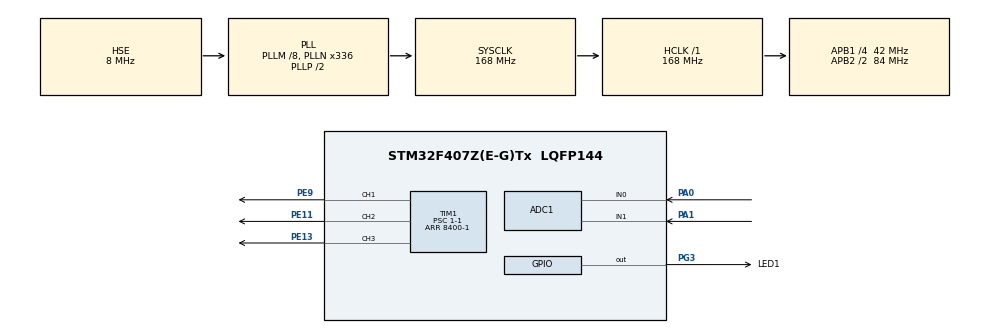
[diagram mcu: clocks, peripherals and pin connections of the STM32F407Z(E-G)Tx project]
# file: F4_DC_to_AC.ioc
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ADC1.Channel-0\#ChannelRegularConversion=ADC_CHANNEL_0
ADC1.ContinuousConvMode=ENABLE
ADC1.DMAContinuousRequests=ENABLE
ADC1.NbrOfConversionFlag=1
ADC1.Rank-0\#ChannelRegularConversion=1
ADC1.SamplingTime-0\#ChannelRegularConversion=ADC_SAMPLETIME_3CYCLES
ADC1.ScanConvMode=ENABLE
ADC1.master=1
Dma.ADC1.0.Direction=DMA_PERIPH_TO_MEMORY
Dma.ADC1.0.FIFOMode=DMA_FIFOMODE_DISABLE
Dma.ADC1.0.Instance=DMA2_Stream0
Dma.ADC1.0.MemDataAlignment=DMA_MDATAALIGN_WORD
Dma.ADC1.0.MemInc=DMA_MINC_ENABLE
Dma.ADC1.0.Mode=DMA_CIRCULAR
Dma.ADC1.0.PeriphDataAlignment=DMA_PDATAALIGN_WORD
Dma.ADC1.0.PeriphInc=DMA_PINC_DISABLE
Dma.ADC1.0.Priority=DMA_PRIORITY_LOW
Dma.Request0=ADC1
Mcu.Family=STM32F4
Mcu.Name=STM32F407Z(E-G)Tx
Mcu.Package=LQFP144
NVIC.DMA2_Stream0_IRQn=true\:0\:0\:false\:false\:true\:false\:true
NVIC.PriorityGroup=NVIC_PRIORITYGROUP_4
NVIC.TIM2_IRQn=true\:0\:0\:false\:false\:true\:true\:true
NVIC.TIM7_IRQn=true\:0\:0\:false\:false\:true\:true\:true
PA0-WKUP.Signal=ADCx_IN0
PA1.Signal=ADCx_IN1
PA13.Mode=Serial_Wire
PA13.Signal=SYS_JTMS-SWDIO
PA14.Mode=Serial_Wire
PA14.Signal=SYS_JTCK-SWCLK
PC14-OSC32_IN.Mode=LSE-External-Oscillator
PC14-OSC32_IN.Signal=RCC_OSC32_IN
PC15-OSC32_OUT.Mode=LSE-External-Oscillator
PC15-OSC32_OUT.Signal=RCC_OSC32_OUT
PE11.Signal=S_TIM1_CH2
PE13.Signal=S_TIM1_CH3
PE9.Signal=S_TIM1_CH1
PG3.GPIO_Label=LED1
PG3.GPIO_ModeDefaultOutputPP=GPIO_MODE_OUTPUT_OD
PG3.Signal=GPIO_Output
PH0-OSC_IN.Mode=HSE-External-Oscillator
PH0-OSC_IN.Signal=RCC_OSC_IN
PH1-OSC_OUT.Mode=HSE-External-Oscillator
PH1-OSC_OUT.Signal=RCC_OSC_OUT
ProjectManager.HeapSize=0x200
ProjectManager.StackSize=0x400
ProjectManager.TargetToolchain=STM32CubeIDE
RCC.48MHZClocksFreq_Value=84000000
RCC.AHBFreq_Value=168000000
RCC.APB1CLKDivider=RCC_HCLK_DIV4
RCC.APB1Freq_Value=42000000
RCC.APB1TimFreq_Value=84000000
RCC.APB2CLKDivider=RCC_HCLK_DIV2
RCC.APB2Freq_Value=84000000
RCC.APB2TimFreq_Value=168000000
RCC.CortexFreq_Value=168000000
RCC.HCLKFreq_Value=168000000
RCC.HSE_VALUE=8000000
RCC.HSI_VALUE=16000000
RCC.PLLM=8
RCC.PLLN=336
RCC.PLLSourceVirtual=RCC_PLLSOURCE_HSE
RCC.SYSCLKFreq_VALUE=168000000
RCC.SYSCLKSource=RCC_SYSCLKSOURCE_PLLCLK
RCC.VCOOutputFreq_Value=336000000
SH.ADCx_IN0.0=ADC1_IN0,IN0
SH.ADCx_IN1.0=ADC1_IN1,IN1
SH.S_TIM1_CH1.0=TIM1_CH1,PWM Generation1 CH1
SH.S_TIM1_CH2.0=TIM1_CH2,PWM Generation2 CH2
SH.S_TIM1_CH3.0=TIM1_CH3,PWM Generation3 CH3
TIM1.Channel-PWM\ Generation1\ CH1=TIM_CHANNEL_1
TIM1.Channel-PWM\ Generation2\ CH2=TIM_CHANNEL_2
TIM1.Channel-PWM\ Generation3\ CH3=TIM_CHANNEL_3
TIM1.Period=8400-1
TIM1.Prescaler=1-1
TIM2.AutoReloadPreload=TIM_AUTORELOAD_PRELOAD_DISABLE
TIM2.Period=200-1
TIM2.Prescaler=84-1
TIM7.Period=100-1
TIM7.Prescaler=84-1
VP_TIM1_VS_ClockSourceINT.Mode=Internal
VP_TIM2_VS_ClockSourceINT.Mode=Internal
VP_TIM7_VS_ClockSourceINT.Mode=Enable_Timer
board=custom

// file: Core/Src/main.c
/* USER CODE BEGIN Header */
/**
  ******************************************************************************
  * @file           : main.c
  * @brief          : Main program body
  ******************************************************************************
  * @attention
  *
  * <h2><center>&copy; Copyright (c) 2020 STMicroelectronics.
  * All rights reserved.</center></h2>
  *
  * This software component is licensed by ST under BSD 3-Clause license,
  * the "License"; You may not use this file except in compliance with the
  * License. You may obtain a copy of the License at:
  *                        opensource.org/licenses/BSD-3-Clause
  *
  ******************************************************************************
  */
/* USER CODE END Header */

#include "main.h"
#include "adc.h"
#include "dma.h"
#include "tim.h"
#include "gpio.h"

/* USER CODE BEGIN Includes */
#include "math.h"
#include "pid.h"
/* USER CODE END Includes */

/* USER CODE BEGIN PD */
#define Channel_Num  2//通道数量， 一个为电压量，一个为电流量。
#define SIN_NUM 50 //函数sin表数组的容量
#define Cycle_Num 200 //tim7为0.1ms一次采样，输出一个周期20ms。所以一个周期应该有200个采样值
/* USER CODE END PD */

/* USER CODE BEGIN PV */
uint32_t ADC_ConvertedValue[Channel_Num] = {0}; //定义DMA数据的存储地址
int SIN_LUT_index = 0;//sin表指针，用来定位sin表中的值
uint16_t Sin_Lut[SIN_NUM] = {0};  //sin表
uint16_t Output_Polarity_Flag = 0; //输出极性标志，0和1分别为前半周期和后半周期
float Tfb = 1; //输出的调幅比
uint16_t Get_Data_Cycle_Flag = 0; //获取一个周期数据的标志
float ADC_Cycle_Date[Cycle_Num][Channel_Num] = {0}; // 存放一个周期的电流电压值
uint16_t ADC_Date_Count = 0; //周期内ADC采样值计数
float ADC_ValueAverage[Channel_Num] = {0}; //存储经main函数运算之后的电压电流有效值
float Target_V = 1; //设置目标电压值
float Max_I = 1; //设置最大电流(为AD采样前 电流转换后 的模拟电压值)
/* USER CODE END PV */

void SystemClock_Config(void);
/* USER CODE BEGIN PFP */
void Make_Sin_List(void); //sin表生成函数
/* USER CODE END PFP */

int main(void)
{

  /* MCU Configuration--------------------------------------------------------*/

  /* Reset of all peripherals, Initializes the Flash interface and the Systick. */
  HAL_Init();

  /* Configure the system clock */
  SystemClock_Config();

  /* Initialize all configured peripherals */
  MX_GPIO_Init();
  MX_DMA_Init();
  MX_ADC1_Init();
  MX_TIM1_Init();
  MX_TIM2_Init();
  MX_TIM7_Init();
  /* USER CODE BEGIN 2 */
  HAL_ADC_Start_DMA(&hadc1, (uint32_t*)ADC_ConvertedValue, Channel_Num); //开启ADC的DMA采集通道
  HAL_TIM_PWM_Start(&htim1,TIM_CHANNEL_1); //开启PWM通道1输出，控制boost的占空比
  __HAL_TIM_SET_COMPARE(&htim1, TIM_CHANNEL_1, 3000);//设置初值，重装值为8400
  HAL_TIM_PWM_Start(&htim1,TIM_CHANNEL_2); //开启PWM通道2输出，控制一个桥臂
  __HAL_TIM_SET_COMPARE(&htim1, TIM_CHANNEL_2, 4200);//设置初值，重装值为8400
  HAL_TIM_PWM_Start(&htim1,TIM_CHANNEL_3); //开启PWM通道3输出，控制另外一个桥臂
  __HAL_TIM_SET_COMPARE(&htim1, TIM_CHANNEL_3, 4200);//设置初值，重装值为8400
  Make_Sin_List(); //生成正弦表
  HAL_TIM_Base_Start_IT(&htim2); //开启定时器2，中断中输出正弦调制波
  HAL_TIM_Base_Start_IT(&htim7); //开启定时器7，中断中进行数据采样和 闭环控制
  Set_PID_Parameter(kp,ki,kd); //PID参数配置
  /* USER CODE END 2 */

  /* Infinite loop */
  /* USER CODE BEGIN WHILE */
  while (1)
  {
	  if(Get_Data_Cycle_Flag == 1) { //标志为1 对一个周期的数据计算处理

		  float SumV = 0, SumI = 0; //存储总值
		  float I_Diff = 2.1; //电流用INA282可采到负值，但有偏置，计算时应减去
		  for(int i = 0; i < Cycle_Num; i++) { //做平方求和
			  SumV += ADC_Cycle_Date[i][0] * ADC_Cycle_Date[i][0];
			  SumI += (ADC_Cycle_Date[i][1] - I_Diff) * (ADC_Cycle_Date[i][1] - I_Diff);
		  }
		  ADC_ValueAverage[0] = sqrt(SumV * 2 / Cycle_Num); //电压有效值  在负半周采样结果为0，故乘2
		  ADC_ValueAverage[1] = sqrt(SumI / Cycle_Num); //电流有效值

		  if(ADC_ValueAverage[1] < Max_I) { //如果采集到的电流值小于最大电流，则保持恒压状态
			  float Pid_Output = PID_Calc(ADC_ValueAverage[0], Target_V); //进行Pid运算
			  float Tfb_Temp = Tfb; //调幅比临时存储变量
			  Tfb_Temp += Pid_Output; //调幅比加上pid运算结果，实现闭环控制
			  if(Tfb_Temp > 1) {//如果调幅比大于1则，回调为1
				  Tfb_Temp = 1;
			  }
			  if(Tfb_Temp < 0) { //如果调幅比小于0则调为0
				  Tfb_Temp = 0;
			  }
			  Tfb = Tfb_Temp; //进行调幅比调整
		  }
		  if(ADC_ValueAverage[1] >= Max_I) { //如果采集到的电流值大于最大电流,则使电路停止输出
			  Tfb = 0; //调幅比调低
			  while(1); //进入死循环，等待重启系统
		  }

		  Get_Data_Cycle_Flag = 0;
	  }

    /* USER CODE END WHILE */

  }
}

void SystemClock_Config(void)
{
  RCC_OscInitTypeDef RCC_OscInitStruct = {0};
  RCC_ClkInitTypeDef RCC_ClkInitStruct = {0};

  /** Configure the main internal regulator output voltage
  */
  __HAL_RCC_PWR_CLK_ENABLE();
  __HAL_PWR_VOLTAGESCALING_CONFIG(PWR_REGULATOR_VOLTAGE_SCALE1);
  /** Initializes the CPU, AHB and APB busses clocks
  */
  RCC_OscInitStruct.OscillatorType = RCC_OSCILLATORTYPE_HSE;
  RCC_OscInitStruct.HSEState = RCC_HSE_ON;
  RCC_OscInitStruct.PLL.PLLState = RCC_PLL_ON;
  RCC_OscInitStruct.PLL.PLLSource = RCC_PLLSOURCE_HSE;
  RCC_OscInitStruct.PLL.PLLM = 8;
  RCC_OscInitStruct.PLL.PLLN = 336;
  RCC_OscInitStruct.PLL.PLLP = RCC_PLLP_DIV2;
  RCC_OscInitStruct.PLL.PLLQ = 4;
  if (HAL_RCC_OscConfig(&RCC_OscInitStruct) != HAL_OK)
  {
    Error_Handler();
  }
  /** Initializes the CPU, AHB and APB busses clocks
  */
  RCC_ClkInitStruct.ClockType = RCC_CLOCKTYPE_HCLK|RCC_CLOCKTYPE_SYSCLK
                              |RCC_CLOCKTYPE_PCLK1|RCC_CLOCKTYPE_PCLK2;
  RCC_ClkInitStruct.SYSCLKSource = RCC_SYSCLKSOURCE_PLLCLK;
  RCC_ClkInitStruct.AHBCLKDivider = RCC_SYSCLK_DIV1;
  RCC_ClkInitStruct.APB1CLKDivider = RCC_HCLK_DIV4;
  RCC_ClkInitStruct.APB2CLKDivider = RCC_HCLK_DIV2;

  if (HAL_RCC_ClockConfig(&RCC_ClkInitStruct, FLASH_LATENCY_5) != HAL_OK)
  {
    Error_Handler();
  }
}

/* USER CODE BEGIN 4 */

void Make_Sin_List(void) {//生成sin表的函数
	uint16_t i;
	for(i = 0; i < SIN_NUM; i++) {
		Sin_Lut[i] = (uint16_t)(sin(3.1415926*i/SIN_NUM)*(8400-1));//8400为pwm的定时器重装值
	}
}

		/*定时器中断函数*/
void HAL_TIM_PeriodElapsedCallback(TIM_HandleTypeDef *htim) {
	if(htim->Instance == htim2.Instance) {  //调制定时器2中断处理
		if(Output_Polarity_Flag == 0) {		//标志为0
			__HAL_TIM_SET_COMPARE(&htim1, TIM_CHANNEL_2, 0);	//定时器1的通道2	一个桥臂，使其停止工作
			__HAL_TIM_SET_COMPARE(&htim1, TIM_CHANNEL_3, Tfb*Sin_Lut[SIN_LUT_index]); //定时器1的通道3，另一个桥臂输出PWM
		} else {	 //标志不为0
			__HAL_TIM_SET_COMPARE(&htim1, TIM_CHANNEL_3, 0);	//定时器1的通道3	一个桥臂，使其停止工作
			__HAL_TIM_SET_COMPARE(&htim1, TIM_CHANNEL_3, Tfb*Sin_Lut[SIN_LUT_index]); //定时器1的通道2，另一个桥臂输出PWM
		}
		SIN_LUT_index++;  //表指针+1
		if( SIN_LUT_index == SIN_NUM ) { //sin半周期转换桥臂
			SIN_LUT_index = 0;           //正弦表指针归零
			Output_Polarity_Flag = ~Output_Polarity_Flag; //转换桥臂标志
		}
	}

	if(htim->Instance == htim7.Instance) {  //采样定时器7中断处理
		if(!Get_Data_Cycle_Flag) { //标志为0应该去获取一个周期的数据
			if(ADC_Date_Count < 200) {	// 记录一个周期内ADC采样值
				ADC_Cycle_Date[ADC_Date_Count][0] = (float)ADC_ConvertedValue[0]/4096*3.3; //移动存储以交给main函数处理
				ADC_Cycle_Date[ADC_Date_Count][1] = (float)ADC_ConvertedValue[1]/4096*3.3;
				ADC_Date_Count++;
			}else if(ADC_Date_Count >= 200) { //一个周期记录完成
				ADC_Date_Count = 0; //计数值清零
				Get_Data_Cycle_Flag = 1; //标志拉高交给main函数处理
			}
		}

	}
}

/* USER CODE END 4 */

void Error_Handler(void)
{
}

/************************ (C) COPYRIGHT STMicroelectronics *****END OF FILE****/
